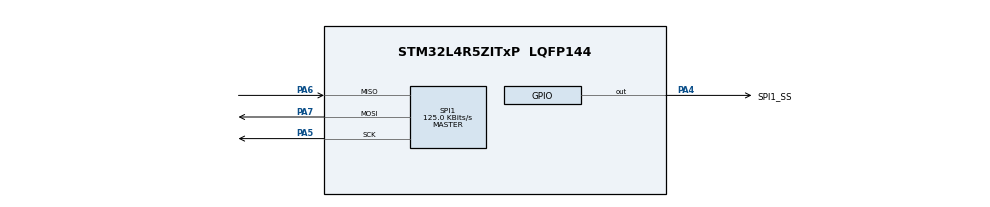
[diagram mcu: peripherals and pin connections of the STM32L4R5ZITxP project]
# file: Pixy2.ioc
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Mcu.Family=STM32L4
Mcu.Name=STM32L4R5ZITxP
Mcu.Package=LQFP144
NVIC.PriorityGroup=NVIC_PRIORITYGROUP_4
PA0.Signal=S_TIM2_CH1
PA1.Signal=ADCx_IN6
PA10.Signal=USB_OTG_FS_ID
PA13\ (JTMS/SWDIO).Signal=SYS_JTMS-SWDIO
PA14\ (JTCK/SWCLK).Signal=SYS_JTCK-SWCLK
PA3.Signal=ADCx_IN8
PA4.GPIO_Label=SPI1_SS
PA4.PinState=GPIO_PIN_SET
PA4.Signal=GPIO_Output
PA5.Mode=Full_Duplex_Master
PA5.Signal=SPI1_SCK
PA6.Mode=Full_Duplex_Master
PA6.Signal=SPI1_MISO
PA7.Mode=Full_Duplex_Master
PA7.Signal=SPI1_MOSI
PA8.Signal=USB_OTG_FS_SOF
PA9.Signal=USB_OTG_FS_VBUS
PB0.Signal=S_TIM3_CH3
PB1.Signal=ADCx_IN16
PB10.Signal=S_TIM2_CH3
PB12.Signal=SAI2_FS_A
PB13.Signal=SAI2_SCK_A
PB14.Signal=S_TIM15_CH1
PB15.Signal=SAI2_SD_A
PB2.Signal=COMP1_INP
PB3\ (JTDO/TRACESWO).Signal=SPI3_SCK
PB4\ (NJTRST).Signal=SPI3_MISO
PB5.Signal=SPI3_MOSI
PB6.Signal=COMP2_INP
PB8.Signal=I2C1_SCL
PB9.Signal=I2C1_SDA
PC0.Signal=ADCx_IN1
PC1.Signal=ADCx_IN2
PC10.Signal=SDMMC1_D2
PC11.Signal=SDMMC1_D3
PC12.Signal=SDMMC1_CK
PC13.Signal=SYS_WKUP2
PC14-OSC32_IN\ (PC14).Signal=RCC_OSC32_IN
PC15-OSC32_OUT\ (PC15).Signal=RCC_OSC32_OUT
PC2.Signal=ADCx_IN3
PC3.Signal=ADCx_IN4
PC4.Signal=ADCx_IN13
PC5.Signal=ADCx_IN14
PC6.Signal=SAI2_MCLK_A
PC7.Signal=S_TIM3_CH2
PC8.Signal=SDMMC1_D0
PC9.Signal=SDMMC1_D1
PD0.Signal=CAN1_RX
PD14.Signal=S_TIM4_CH3
PD15.Signal=S_TIM4_CH4
PD2.Signal=SDMMC1_CMD
PD3.Signal=USART2_CTS
PD4.Signal=USART2_RTS
PD5.Signal=USART2_TX
PD6.Signal=USART2_RX
PD8.Signal=USART3_TX
PD9.Signal=USART3_RX
PE0.Signal=S_TIM4_ETR
PE10.Signal=TIM1_CH2N
PE11.Signal=S_TIM1_CH2
PE12.Signal=TIM1_CH3N
PE13.Signal=S_TIM1_CH3
PE14.Signal=TIM1_BKIN2
PE15.Signal=TIM1_BKIN
PE2.Signal=SAI1_MCLK_A
PE3.Signal=SAI1_SD_B
PE7.Signal=S_TIM1_ETR
PE8.Signal=TIM1_CH1N
PE9.Signal=S_TIM1_CH1
PF0.Signal=I2C2_SDA
PF1.Signal=I2C2_SCL
PF2.Signal=I2C2_SMBA
PF7.Signal=SAI1_MCLK_B
PG7.Signal=LPUART1_TX
PG8.Signal=LPUART1_RX
PH0-OSC_IN\ (PH0).Signal=RCC_OSC_IN
PH1-OSC_OUT\ (PH1).Signal=RCC_OSC_OUT
ProjectManager.HeapSize=0x200
ProjectManager.StackSize=0x400
ProjectManager.TargetToolchain=STM32CubeIDE
RCC.HSE_VALUE=8000000
RCC.HSI48_VALUE=48000000
RCC.HSI_VALUE=16000000
RCC.LSE_VALUE=32768
RCC.MSI_VALUE=4000000
RCC.VCOOutputFreq_Value=32000000
SH.ADCx_IN1.0=ADC1_IN1
SH.ADCx_IN13.0=ADC1_IN13
SH.ADCx_IN14.0=ADC1_IN14
SH.ADCx_IN16.0=ADC1_IN16
SH.ADCx_IN2.0=ADC1_IN2
SH.ADCx_IN3.0=ADC1_IN3
SH.ADCx_IN4.0=ADC1_IN4
SH.ADCx_IN6.0=ADC1_IN6
SH.ADCx_IN8.0=ADC1_IN8
SH.S_TIM15_CH1.0=TIM15_CH1
SH.S_TIM1_CH1.0=TIM1_CH1
SH.S_TIM1_CH2.0=TIM1_CH2
SH.S_TIM1_CH3.0=TIM1_CH3
SH.S_TIM1_ETR.0=TIM1_ETR
SH.S_TIM2_CH1.0=TIM2_CH1
SH.S_TIM2_CH3.0=TIM2_CH3
SH.S_TIM3_CH2.0=TIM3_CH2
SH.S_TIM3_CH3.0=TIM3_CH3
SH.S_TIM4_CH3.0=TIM4_CH3
SH.S_TIM4_CH4.0=TIM4_CH4
SH.S_TIM4_ETR.0=TIM4_ETR
SPI1.BaudRatePrescaler=SPI_BAUDRATEPRESCALER_32
SPI1.CLKPhase=SPI_PHASE_2EDGE
SPI1.CLKPolarity=SPI_POLARITY_HIGH
SPI1.CalculateBaudRate=125.0 KBits/s
SPI1.DataSize=SPI_DATASIZE_8BIT
SPI1.Direction=SPI_DIRECTION_2LINES
SPI1.FirstBit=SPI_FIRSTBIT_MSB
SPI1.Mode=SPI_MODE_MASTER
SPI1.VirtualType=VM_MASTER
board=NUCLEO-L4R5ZI-P

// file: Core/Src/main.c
/* USER CODE BEGIN Header */
/**
  ******************************************************************************
  * @file           : main.c
  * @brief          : Main program body
  ******************************************************************************
  * @attention
  *
  * Copyright (c) 2024 STMicroelectronics.
  * All rights reserved.
  *
  * This software is licensed under terms that can be found in the LICENSE file
  * in the root directory of this software component.
  * If no LICENSE file comes with this software, it is provided AS-IS.
  *
  ******************************************************************************
  */
/* USER CODE END Header */
#include "main.h"

SPI_HandleTypeDef hspi1;

void SystemClock_Config(void);
static void MX_GPIO_Init(void);
static void MX_SPI1_Init(void);

/* USER CODE BEGIN 0 */

void sendToPixy(uint8_t *data, uint8_t length){

	//uint8_t numBytes = 0;
	HAL_GPIO_WritePin(GPIOA, GPIO_PIN_4,GPIO_PIN_RESET); // Driving SPI SS for Pixy low (because it is active low)
	HAL_SPI_Transmit(&hspi1, data, length, 1000);
}

void recvFromPixy(uint8_t *data, uint8_t length){
	HAL_SPI_Receive(&hspi1, data, length, 1000);
	HAL_GPIO_WritePin(GPIOA, GPIO_PIN_4, GPIO_PIN_SET);
}

/* USER CODE END 0 */

int main(void)
{
  /* USER CODE BEGIN 1 */
	uint8_t recvBuf_len = 150;
  uint8_t i, lenRecieved, recvBuf[recvBuf_len];
  uint8_t versionRequest[] = {
	0xae,
	0xc1,
	0x0e,
	0x00
  };

  uint8_t getResolution[] = {

    0xae,
	0xc1,
	0x0c,
	0x01,
	0x00
  };

  uint8_t valid_arr[32];

  /* USER CODE END 1 */

  /* MCU Configuration--------------------------------------------------------*/

  /* Reset of all peripherals, Initializes the Flash interface and the Systick. */
  HAL_Init();

  /* Configure the system clock */
  SystemClock_Config();

  /* Initialize all configured peripherals */
  MX_GPIO_Init();
  MX_SPI1_Init();
  /* USER CODE BEGIN 2 */

  //recvFromPixy(recvBuf, 1);
  sendToPixy(versionRequest, 4); // Through out first 9 bytes and also run a trasmit recieve once before
  HAL_Delay(1);
  recvFromPixy(recvBuf, 6+144);
  /* USER CODE END 2 */

  /* Infinite loop */
  /* USER CODE BEGIN WHILE */
  while (1)
  {

	  sendToPixy(versionRequest, 4); // Through out first 9 bytes and also run a trasmit recieve once before
	  HAL_Delay(1);
	  recvFromPixy(recvBuf, 6+144);

	  uint8_t idx = 255;

	  for (int i = 0; i < (recvBuf_len - 1); i++){
		  if ((recvBuf[i]== 0xaf) && (recvBuf[i+1] == 0xc1)){
			  idx = i;
			  break;
		  }
	  }

	  //get versionRequest data.
	  if(idx < 255){
		  for (int j = 0; j < 13; j++){
		  		  valid_arr[j] = recvBuf[idx + j];
		  	  }
	  }

	  sendToPixy(getResolution, 5);
	  HAL_Delay(1);
	  recvFromPixy(recvBuf, 6 + 144);

	  if(idx < 255){
	  		  for (int j = 0; j < 10; j++){
	  		  		  valid_arr[j] = recvBuf[idx + j];
	  		  	  }
	  	  }

	  //HAL_Delay(1000);

    /* USER CODE END WHILE */

  }
}

void SystemClock_Config(void)
{
  RCC_OscInitTypeDef RCC_OscInitStruct = {0};
  RCC_ClkInitTypeDef RCC_ClkInitStruct = {0};

  /** Configure the main internal regulator output voltage
  */
  if (HAL_PWREx_ControlVoltageScaling(PWR_REGULATOR_VOLTAGE_SCALE1) != HAL_OK)
  {
    Error_Handler();
  }

  /** Initializes the RCC Oscillators according to the specified parameters
  * in the RCC_OscInitTypeDef structure.
  */
  RCC_OscInitStruct.OscillatorType = RCC_OSCILLATORTYPE_MSI;
  RCC_OscInitStruct.MSIState = RCC_MSI_ON;
  RCC_OscInitStruct.MSICalibrationValue = 0;
  RCC_OscInitStruct.MSIClockRange = RCC_MSIRANGE_6;
  RCC_OscInitStruct.PLL.PLLState = RCC_PLL_NONE;
  if (HAL_RCC_OscConfig(&RCC_OscInitStruct) != HAL_OK)
  {
    Error_Handler();
  }

  /** Initializes the CPU, AHB and APB buses clocks
  */
  RCC_ClkInitStruct.ClockType = RCC_CLOCKTYPE_HCLK|RCC_CLOCKTYPE_SYSCLK
                              |RCC_CLOCKTYPE_PCLK1|RCC_CLOCKTYPE_PCLK2;
  RCC_ClkInitStruct.SYSCLKSource = RCC_SYSCLKSOURCE_MSI;
  RCC_ClkInitStruct.AHBCLKDivider = RCC_SYSCLK_DIV1;
  RCC_ClkInitStruct.APB1CLKDivider = RCC_HCLK_DIV1;
  RCC_ClkInitStruct.APB2CLKDivider = RCC_HCLK_DIV1;

  if (HAL_RCC_ClockConfig(&RCC_ClkInitStruct, FLASH_LATENCY_0) != HAL_OK)
  {
    Error_Handler();
  }
}

static void MX_SPI1_Init(void)
{

  /* SPI1 parameter configuration*/
  hspi1.Instance = SPI1;
  hspi1.Init.Mode = SPI_MODE_MASTER;
  hspi1.Init.Direction = SPI_DIRECTION_2LINES;
  hspi1.Init.DataSize = SPI_DATASIZE_8BIT;
  hspi1.Init.CLKPolarity = SPI_POLARITY_HIGH;
  hspi1.Init.CLKPhase = SPI_PHASE_2EDGE;
  hspi1.Init.NSS = SPI_NSS_SOFT;
  hspi1.Init.BaudRatePrescaler = SPI_BAUDRATEPRESCALER_32;
  hspi1.Init.FirstBit = SPI_FIRSTBIT_MSB;
  hspi1.Init.TIMode = SPI_TIMODE_DISABLE;
  hspi1.Init.CRCCalculation = SPI_CRCCALCULATION_DISABLE;
  hspi1.Init.CRCPolynomial = 7;
  hspi1.Init.CRCLength = SPI_CRC_LENGTH_DATASIZE;
  hspi1.Init.NSSPMode = SPI_NSS_PULSE_DISABLE;
  if (HAL_SPI_Init(&hspi1) != HAL_OK)
  {
    Error_Handler();
  }

}

static void MX_GPIO_Init(void)
{
  GPIO_InitTypeDef GPIO_InitStruct = {0};

  /* GPIO Ports Clock Enable */
  __HAL_RCC_GPIOE_CLK_ENABLE();
  __HAL_RCC_GPIOC_CLK_ENABLE();
  __HAL_RCC_GPIOF_CLK_ENABLE();
  __HAL_RCC_GPIOH_CLK_ENABLE();
  __HAL_RCC_GPIOA_CLK_ENABLE();
  __HAL_RCC_GPIOB_CLK_ENABLE();
  __HAL_RCC_GPIOD_CLK_ENABLE();
  __HAL_RCC_GPIOG_CLK_ENABLE();
  HAL_PWREx_EnableVddIO2();

  /*Configure GPIO pin Output Level */
  HAL_GPIO_WritePin(SPI1_SS_GPIO_Port, SPI1_SS_Pin, GPIO_PIN_SET);

  /*Configure GPIO pins : PE2 PE3 */
  GPIO_InitStruct.Pin = GPIO_PIN_2|GPIO_PIN_3;
  GPIO_InitStruct.Mode = GPIO_MODE_AF_PP;
  GPIO_InitStruct.Pull = GPIO_NOPULL;
  GPIO_InitStruct.Speed = GPIO_SPEED_FREQ_LOW;
  GPIO_InitStruct.Alternate = GPIO_AF13_SAI1;
  HAL_GPIO_Init(GPIOE, &GPIO_InitStruct);

  /*Configure GPIO pins : PF0 PF1 PF2 */
  GPIO_InitStruct.Pin = GPIO_PIN_0|GPIO_PIN_1|GPIO_PIN_2;
  GPIO_InitStruct.Mode = GPIO_MODE_AF_OD;
  GPIO_InitStruct.Pull = GPIO_NOPULL;
  GPIO_InitStruct.Speed = GPIO_SPEED_FREQ_VERY_HIGH;
  GPIO_InitStruct.Alternate = GPIO_AF4_I2C2;
  HAL_GPIO_Init(GPIOF, &GPIO_InitStruct);

  /*Configure GPIO pin : PF7 */
  GPIO_InitStruct.Pin = GPIO_PIN_7;
  GPIO_InitStruct.Mode = GPIO_MODE_AF_PP;
  GPIO_InitStruct.Pull = GPIO_NOPULL;
  GPIO_InitStruct.Speed = GPIO_SPEED_FREQ_LOW;
  GPIO_InitStruct.Alternate = GPIO_AF13_SAI1;
  HAL_GPIO_Init(GPIOF, &GPIO_InitStruct);

  /*Configure GPIO pins : PC0 PC1 PC2 PC3
                           PC4 PC5 */
  GPIO_InitStruct.Pin = GPIO_PIN_0|GPIO_PIN_1|GPIO_PIN_2|GPIO_PIN_3
                          |GPIO_PIN_4|GPIO_PIN_5;
  GPIO_InitStruct.Mode = GPIO_MODE_ANALOG_ADC_CONTROL;
  GPIO_InitStruct.Pull = GPIO_NOPULL;
  HAL_GPIO_Init(GPIOC, &GPIO_InitStruct);

  /*Configure GPIO pin : PA0 */
  GPIO_InitStruct.Pin = GPIO_PIN_0;
  GPIO_InitStruct.Mode = GPIO_MODE_AF_PP;
  GPIO_InitStruct.Pull = GPIO_NOPULL;
  GPIO_InitStruct.Speed = GPIO_SPEED_FREQ_LOW;
  GPIO_InitStruct.Alternate = GPIO_AF1_TIM2;
  HAL_GPIO_Init(GPIOA, &GPIO_InitStruct);

  /*Configure GPIO pins : PA1 PA3 */
  GPIO_InitStruct.Pin = GPIO_PIN_1|GPIO_PIN_3;
  GPIO_InitStruct.Mode = GPIO_MODE_ANALOG_ADC_CONTROL;
  GPIO_InitStruct.Pull = GPIO_NOPULL;
  HAL_GPIO_Init(GPIOA, &GPIO_InitStruct);

  /*Configure GPIO pin : SPI1_SS_Pin */
  GPIO_InitStruct.Pin = SPI1_SS_Pin;
  GPIO_InitStruct.Mode = GPIO_MODE_OUTPUT_PP;
  GPIO_InitStruct.Pull = GPIO_NOPULL;
  GPIO_InitStruct.Speed = GPIO_SPEED_FREQ_LOW;
  HAL_GPIO_Init(SPI1_SS_GPIO_Port, &GPIO_InitStruct);

  /*Configure GPIO pin : PB0 */
  GPIO_InitStruct.Pin = GPIO_PIN_0;
  GPIO_InitStruct.Mode = GPIO_MODE_AF_PP;
  GPIO_InitStruct.Pull = GPIO_NOPULL;
  GPIO_InitStruct.Speed = GPIO_SPEED_FREQ_LOW;
  GPIO_InitStruct.Alternate = GPIO_AF2_TIM3;
  HAL_GPIO_Init(GPIOB, &GPIO_InitStruct);

  /*Configure GPIO pin : PB1 */
  GPIO_InitStruct.Pin = GPIO_PIN_1;
  GPIO_InitStruct.Mode = GPIO_MODE_ANALOG_ADC_CONTROL;
  GPIO_InitStruct.Pull = GPIO_NOPULL;
  HAL_GPIO_Init(GPIOB, &GPIO_InitStruct);

  /*Configure GPIO pins : PB2 PB6 */
  GPIO_InitStruct.Pin = GPIO_PIN_2|GPIO_PIN_6;
  GPIO_InitStruct.Mode = GPIO_MODE_ANALOG;
  GPIO_InitStruct.Pull = GPIO_NOPULL;
  HAL_GPIO_Init(GPIOB, &GPIO_InitStruct);

  /*Configure GPIO pins : PE7 PE8 PE9 PE10
                           PE11 PE12 PE13 */
  GPIO_InitStruct.Pin = GPIO_PIN_7|GPIO_PIN_8|GPIO_PIN_9|GPIO_PIN_10
                          |GPIO_PIN_11|GPIO_PIN_12|GPIO_PIN_13;
  GPIO_InitStruct.Mode = GPIO_MODE_AF_PP;
  GPIO_InitStruct.Pull = GPIO_NOPULL;
  GPIO_InitStruct.Speed = GPIO_SPEED_FREQ_LOW;
  GPIO_InitStruct.Alternate = GPIO_AF1_TIM1;
  HAL_GPIO_Init(GPIOE, &GPIO_InitStruct);

  /*Configure GPIO pins : PE14 PE15 */
  GPIO_InitStruct.Pin = GPIO_PIN_14|GPIO_PIN_15;
  GPIO_InitStruct.Mode = GPIO_MODE_AF_PP;
  GPIO_InitStruct.Pull = GPIO_NOPULL;
  GPIO_InitStruct.Speed = GPIO_SPEED_FREQ_LOW;
  GPIO_InitStruct.Alternate = GPIO_AF3_TIM1_COMP1;
  HAL_GPIO_Init(GPIOE, &GPIO_InitStruct);

  /*Configure GPIO pin : PB10 */
  GPIO_InitStruct.Pin = GPIO_PIN_10;
  GPIO_InitStruct.Mode = GPIO_MODE_AF_PP;
  GPIO_InitStruct.Pull = GPIO_NOPULL;
  GPIO_InitStruct.Speed = GPIO_SPEED_FREQ_LOW;
  GPIO_InitStruct.Alternate = GPIO_AF1_TIM2;
  HAL_GPIO_Init(GPIOB, &GPIO_InitStruct);

  /*Configure GPIO pins : PB12 PB13 PB15 */
  GPIO_InitStruct.Pin = GPIO_PIN_12|GPIO_PIN_13|GPIO_PIN_15;
  GPIO_InitStruct.Mode = GPIO_MODE_AF_PP;
  GPIO_InitStruct.Pull = GPIO_NOPULL;
  GPIO_InitStruct.Speed = GPIO_SPEED_FREQ_LOW;
  GPIO_InitStruct.Alternate = GPIO_AF13_SAI2;
  HAL_GPIO_Init(GPIOB, &GPIO_InitStruct);

  /*Configure GPIO pin : PB14 */
  GPIO_InitStruct.Pin = GPIO_PIN_14;
  GPIO_InitStruct.Mode = GPIO_MODE_AF_PP;
  GPIO_InitStruct.Pull = GPIO_NOPULL;
  GPIO_InitStruct.Speed = GPIO_SPEED_FREQ_LOW;
  GPIO_InitStruct.Alternate = GPIO_AF14_TIM15;
  HAL_GPIO_Init(GPIOB, &GPIO_InitStruct);

  /*Configure GPIO pins : PD8 PD9 */
  GPIO_InitStruct.Pin = GPIO_PIN_8|GPIO_PIN_9;
  GPIO_InitStruct.Mode = GPIO_MODE_AF_PP;
  GPIO_InitStruct.Pull = GPIO_NOPULL;
  GPIO_InitStruct.Speed = GPIO_SPEED_FREQ_VERY_HIGH;
  GPIO_InitStruct.Alternate = GPIO_AF7_USART3;
  HAL_GPIO_Init(GPIOD, &GPIO_InitStruct);

  /*Configure GPIO pins : PD14 PD15 */
  GPIO_InitStruct.Pin = GPIO_PIN_14|GPIO_PIN_15;
  GPIO_InitStruct.Mode = GPIO_MODE_AF_PP;
  GPIO_InitStruct.Pull = GPIO_NOPULL;
  GPIO_InitStruct.Speed = GPIO_SPEED_FREQ_LOW;
  GPIO_InitStruct.Alternate = GPIO_AF2_TIM4;
  HAL_GPIO_Init(GPIOD, &GPIO_InitStruct);

  /*Configure GPIO pins : PG7 PG8 */
  GPIO_InitStruct.Pin = GPIO_PIN_7|GPIO_PIN_8;
  GPIO_InitStruct.Mode = GPIO_MODE_AF_PP;
  GPIO_InitStruct.Pull = GPIO_NOPULL;
  GPIO_InitStruct.Speed = GPIO_SPEED_FREQ_VERY_HIGH;
  GPIO_InitStruct.Alternate = GPIO_AF8_LPUART1;
  HAL_GPIO_Init(GPIOG, &GPIO_InitStruct);

  /*Configure GPIO pin : PC6 */
  GPIO_InitStruct.Pin = GPIO_PIN_6;
  GPIO_InitStruct.Mode = GPIO_MODE_AF_PP;
  GPIO_InitStruct.Pull = GPIO_NOPULL;
  GPIO_InitStruct.Speed = GPIO_SPEED_FREQ_LOW;
  GPIO_InitStruct.Alternate = GPIO_AF13_SAI2;
  HAL_GPIO_Init(GPIOC, &GPIO_InitStruct);

  /*Configure GPIO pin : PC7 */
  GPIO_InitStruct.Pin = GPIO_PIN_7;
  GPIO_InitStruct.Mode = GPIO_MODE_AF_PP;
  GPIO_InitStruct.Pull = GPIO_NOPULL;
  GPIO_InitStruct.Speed = GPIO_SPEED_FREQ_LOW;
  GPIO_InitStruct.Alternate = GPIO_AF2_TIM3;
  HAL_GPIO_Init(GPIOC, &GPIO_InitStruct);

  /*Configure GPIO pins : PC8 PC9 PC10 PC11
                           PC12 */
  GPIO_InitStruct.Pin = GPIO_PIN_8|GPIO_PIN_9|GPIO_PIN_10|GPIO_PIN_11
                          |GPIO_PIN_12;
  GPIO_InitStruct.Mode = GPIO_MODE_AF_PP;
  GPIO_InitStruct.Pull = GPIO_NOPULL;
  GPIO_InitStruct.Speed = GPIO_SPEED_FREQ_VERY_HIGH;
  GPIO_InitStruct.Alternate = GPIO_AF12_SDMMC1;
  HAL_GPIO_Init(GPIOC, &GPIO_InitStruct);

  /*Configure GPIO pins : PA8 PA10 */
  GPIO_InitStruct.Pin = GPIO_PIN_8|GPIO_PIN_10;
  GPIO_InitStruct.Mode = GPIO_MODE_AF_PP;
  GPIO_InitStruct.Pull = GPIO_NOPULL;
  GPIO_InitStruct.Speed = GPIO_SPEED_FREQ_VERY_HIGH;
  GPIO_InitStruct.Alternate = GPIO_AF10_OTG_FS;
  HAL_GPIO_Init(GPIOA, &GPIO_InitStruct);

  /*Configure GPIO pin : PA9 */
  GPIO_InitStruct.Pin = GPIO_PIN_9;
  GPIO_InitStruct.Mode = GPIO_MODE_INPUT;
  GPIO_InitStruct.Pull = GPIO_NOPULL;
  HAL_GPIO_Init(GPIOA, &GPIO_InitStruct);

  /*Configure GPIO pin : PD0 */
  GPIO_InitStruct.Pin = GPIO_PIN_0;
  GPIO_InitStruct.Mode = GPIO_MODE_AF_PP;
  GPIO_InitStruct.Pull = GPIO_NOPULL;
  GPIO_InitStruct.Speed = GPIO_SPEED_FREQ_VERY_HIGH;
  GPIO_InitStruct.Alternate = GPIO_AF9_CAN1;
  HAL_GPIO_Init(GPIOD, &GPIO_InitStruct);

  /*Configure GPIO pin : PD2 */
  GPIO_InitStruct.Pin = GPIO_PIN_2;
  GPIO_InitStruct.Mode = GPIO_MODE_AF_PP;
  GPIO_InitStruct.Pull = GPIO_NOPULL;
  GPIO_InitStruct.Speed = GPIO_SPEED_FREQ_VERY_HIGH;
  GPIO_InitStruct.Alternate = GPIO_AF12_SDMMC1;
  HAL_GPIO_Init(GPIOD, &GPIO_InitStruct);

  /*Configure GPIO pins : PD3 PD4 PD5 PD6 */
  GPIO_InitStruct.Pin = GPIO_PIN_3|GPIO_PIN_4|GPIO_PIN_5|GPIO_PIN_6;
  GPIO_InitStruct.Mode = GPIO_MODE_AF_PP;
  GPIO_InitStruct.Pull = GPIO_NOPULL;
  GPIO_InitStruct.Speed = GPIO_SPEED_FREQ_VERY_HIGH;
  GPIO_InitStruct.Alternate = GPIO_AF7_USART2;
  HAL_GPIO_Init(GPIOD, &GPIO_InitStruct);

  /*Configure GPIO pins : PB3 PB4 PB5 */
  GPIO_InitStruct.Pin = GPIO_PIN_3|GPIO_PIN_4|GPIO_PIN_5;
  GPIO_InitStruct.Mode = GPIO_MODE_AF_PP;
  GPIO_InitStruct.Pull = GPIO_NOPULL;
  GPIO_InitStruct.Speed = GPIO_SPEED_FREQ_VERY_HIGH;
  GPIO_InitStruct.Alternate = GPIO_AF6_SPI3;
  HAL_GPIO_Init(GPIOB, &GPIO_InitStruct);

  /*Configure GPIO pins : PB8 PB9 */
  GPIO_InitStruct.Pin = GPIO_PIN_8|GPIO_PIN_9;
  GPIO_InitStruct.Mode = GPIO_MODE_AF_OD;
  GPIO_InitStruct.Pull = GPIO_NOPULL;
  GPIO_InitStruct.Speed = GPIO_SPEED_FREQ_VERY_HIGH;
  GPIO_InitStruct.Alternate = GPIO_AF4_I2C1;
  HAL_GPIO_Init(GPIOB, &GPIO_InitStruct);

  /*Configure GPIO pin : PE0 */
  GPIO_InitStruct.Pin = GPIO_PIN_0;
  GPIO_InitStruct.Mode = GPIO_MODE_AF_PP;
  GPIO_InitStruct.Pull = GPIO_NOPULL;
  GPIO_InitStruct.Speed = GPIO_SPEED_FREQ_LOW;
  GPIO_InitStruct.Alternate = GPIO_AF2_TIM4;
  HAL_GPIO_Init(GPIOE, &GPIO_InitStruct);

}

void Error_Handler(void)
{
  __disable_irq();
  while (1)
  {
  }
}
